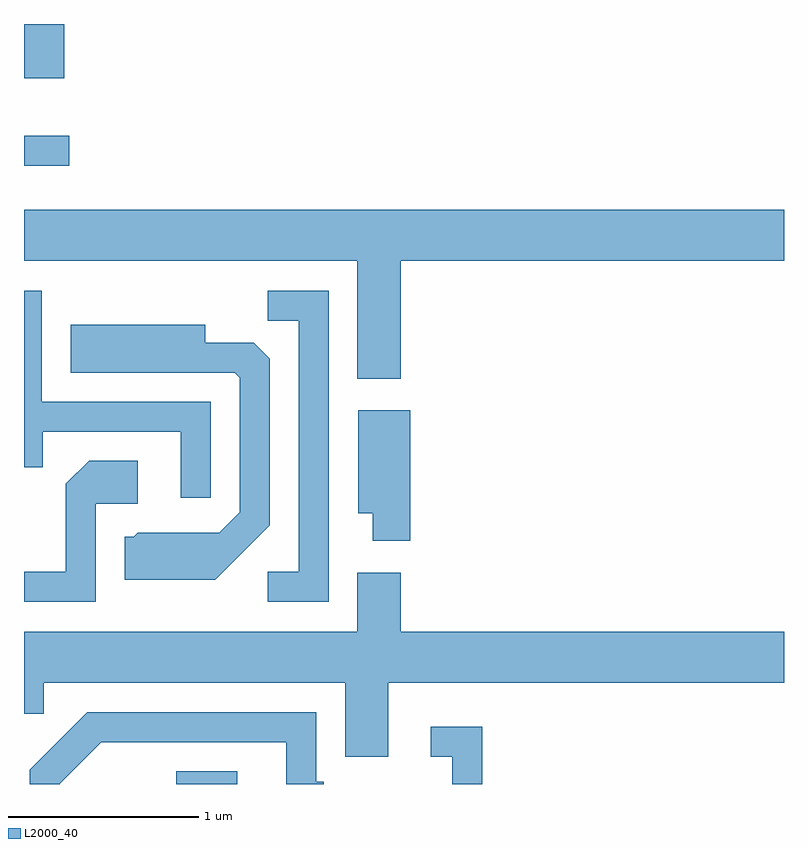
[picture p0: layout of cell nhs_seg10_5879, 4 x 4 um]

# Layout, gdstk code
import gdstk
lib = gdstk.Library(unit=1e-6, precision=1e-09)
def R(c, l, rs):  # rectangles x0, y0, x1, y1
    for r in rs: c.add(gdstk.rectangle(r[:2], r[2:], *l))
def P(c, l, *ps):  # polygons
    for p in ps: c.add(gdstk.Polygon(p, *l))
L2000_40 = (2000, 40)

nhs_seg10_5879 = lib.new_cell('nhs_seg10_5879')
R(nhs_seg10_5879, L2000_40, [(360.411,2084.522,360.733,2084.589), (359.611,2087.776,359.848,2087.934), (359.611,2088.236,359.824,2088.522)])
P(nhs_seg10_5879, L2000_40, [(361.594,2087.276),(363.611,2087.276),(363.611,2087.544),(359.611,2087.544),(359.611,2087.276),(361.366,2087.276),(361.366,2086.656),(361.594,2086.656)],
  [(360.594,2086.534),(359.704,2086.534),(359.704,2087.119),(359.611,2087.119),(359.611,2086.188),(359.709,2086.188),(359.709,2086.376),(360.436,2086.376),(360.436,2086.028),(360.594,2086.028)],
  [(361.214,2087.119),(360.893,2087.119),(360.893,2086.961),(361.056,2086.961),(361.056,2085.639),(360.893,2085.639),(360.893,2085.481),(361.214,2085.481)],
  [(360.904,2085.884),(360.904,2086.759),(360.819,2086.844),(360.564,2086.844),(360.564,2086.939),(359.856,2086.939),(359.856,2086.686),(360.719,2086.686),(360.746,2086.659),(360.746,2085.952),(360.639,2085.844),(360.209,2085.844),(360.189,2085.824),(360.141,2085.824),(360.141,2085.596),(360.617,2085.596)],
  [(361.644,2086.489),(361.371,2086.489),(361.371,2085.946),(361.446,2085.946),(361.446,2085.801),(361.644,2085.801)],
  [(359.989,2085.996),(360.209,2085.996),(360.209,2086.224),(359.954,2086.224),(359.831,2086.102),(359.831,2085.639),(359.611,2085.639),(359.611,2085.481),(359.989,2085.481)],
  [(361.529,2085.056),(363.611,2085.056),(363.611,2085.324),(361.594,2085.324),(361.594,2085.634),(361.366,2085.634),(361.366,2085.324),(359.611,2085.324),(359.611,2084.891),(359.714,2084.891),(359.714,2085.056),(361.301,2085.056),(361.301,2084.666),(361.529,2084.666)],
  [(359.799,2084.524),(360.017,2084.741),(360.991,2084.741),(360.991,2084.522),(361.189,2084.522),(361.189,2084.534),(361.149,2084.534),(361.149,2084.899),(359.944,2084.899),(359.641,2084.597),(359.641,2084.522),(359.799,2084.522)],
  [(362.024,2084.824),(361.753,2084.824),(361.753,2084.666),(361.866,2084.666),(361.866,2084.522),(362.024,2084.522)])

lib.write_gds('nhs_seg10_5879.gds')
